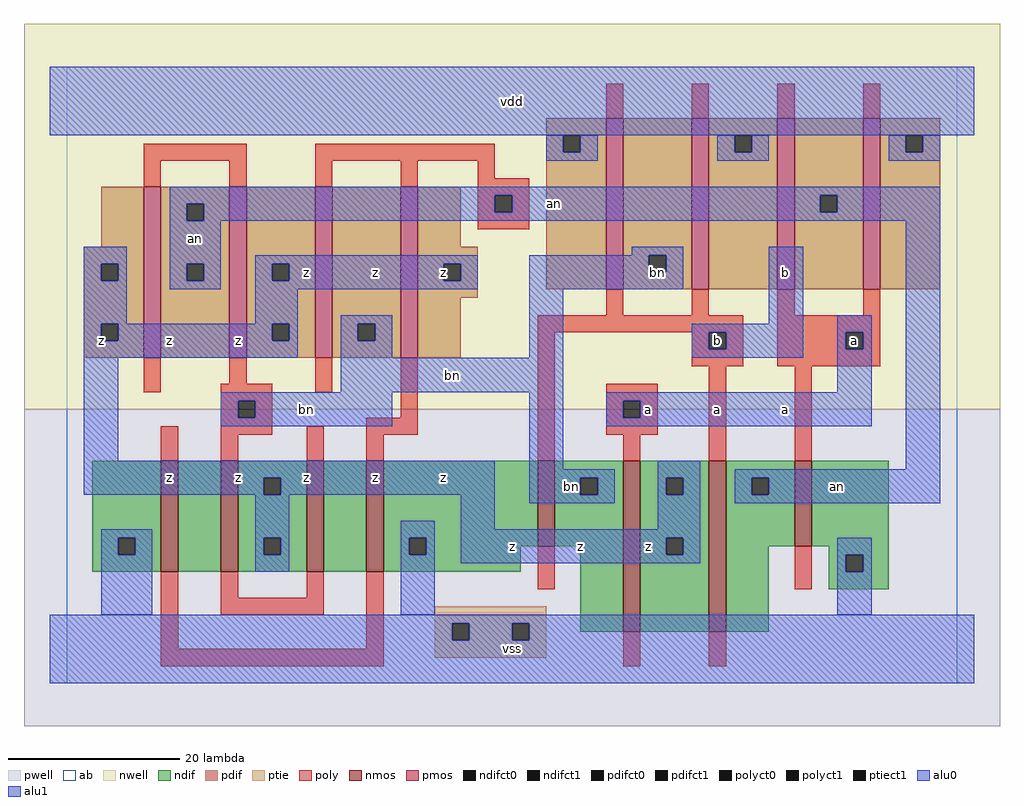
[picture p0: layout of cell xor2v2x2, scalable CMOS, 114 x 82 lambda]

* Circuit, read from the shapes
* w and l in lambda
.subckt xor2v2x2 a an b bn vdd vss z
M1 n1 an vss vss nfet w=13 l=2
M2 z bn n1 vss nfet w=13 l=2
M3 n2 bn z vss nfet w=13 l=2
M4 vss an n2 vss nfet w=13 l=2
M5 bn b vss vss nfet w=10 l=2
M6 z a bn vss nfet w=20 l=2
M7 an b z vss nfet w=20 l=2
M8 vss a an vss nfet w=10 l=2
M9 an bn z n3 pfet w=20 l=2 m=2
M10 bn an z n3 pfet w=20 l=2 m=2
M11 bn b vdd n3 pfet w=20 l=2 m=2
M12 an a vdd n3 pfet w=20 l=2 m=2
.ends

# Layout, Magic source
magic
tech scmos
<< ab >>
rect 0 0 104 72
<< nwell >>
rect -5 32 109 77
<< pwell >>
rect -5 -5 109 32
<< poly >>
rect 63 66 65 70
rect 73 66 75 70
rect 83 66 85 70
rect 93 66 95 70
rect 9 61 21 63
rect 9 58 11 61
rect 19 58 21 61
rect 29 61 50 63
rect 29 58 31 61
rect 39 58 41 61
rect 48 59 50 61
rect 48 57 54 59
rect 48 55 50 57
rect 52 55 54 57
rect 48 53 54 55
rect 63 43 65 46
rect 73 43 75 46
rect 83 43 85 46
rect 93 43 95 46
rect 55 41 79 43
rect 9 34 11 38
rect 19 35 21 38
rect 18 33 24 35
rect 29 34 31 38
rect 18 31 20 33
rect 22 31 24 33
rect 39 31 41 38
rect 11 26 13 30
rect 18 29 24 31
rect 18 26 20 29
rect 28 26 30 30
rect 35 29 41 31
rect 35 26 37 29
rect 55 26 57 41
rect 73 39 75 41
rect 77 39 79 41
rect 73 37 79 39
rect 83 41 95 43
rect 83 39 91 41
rect 93 39 95 41
rect 83 37 95 39
rect 63 33 69 35
rect 63 31 65 33
rect 67 31 69 33
rect 63 29 69 31
rect 65 26 67 29
rect 75 26 77 37
rect 85 26 87 37
rect 11 4 13 13
rect 18 10 20 13
rect 28 10 30 13
rect 18 8 30 10
rect 35 4 37 13
rect 55 11 57 16
rect 11 2 37 4
rect 85 11 87 16
rect 65 2 67 6
rect 75 2 77 6
<< ndif >>
rect 3 17 11 26
rect 3 15 6 17
rect 8 15 11 17
rect 3 13 11 15
rect 13 13 18 26
rect 20 24 28 26
rect 20 22 23 24
rect 25 22 28 24
rect 20 17 28 22
rect 20 15 23 17
rect 25 15 28 17
rect 20 13 28 15
rect 30 13 35 26
rect 37 17 55 26
rect 37 15 40 17
rect 42 16 55 17
rect 57 24 65 26
rect 57 22 60 24
rect 62 22 65 24
rect 57 16 65 22
rect 42 15 53 16
rect 37 13 53 15
rect 60 6 65 16
rect 67 24 75 26
rect 67 22 70 24
rect 72 22 75 24
rect 67 17 75 22
rect 67 15 70 17
rect 72 15 75 17
rect 67 6 75 15
rect 77 24 85 26
rect 77 22 80 24
rect 82 22 85 24
rect 77 16 85 22
rect 87 16 96 26
rect 77 6 82 16
rect 89 15 96 16
rect 89 13 91 15
rect 93 13 96 15
rect 89 11 96 13
<< pdif >>
rect 56 64 63 66
rect 56 62 58 64
rect 60 62 63 64
rect 4 51 9 58
rect 2 49 9 51
rect 2 47 4 49
rect 6 47 9 49
rect 2 42 9 47
rect 2 40 4 42
rect 6 40 9 42
rect 2 38 9 40
rect 11 56 19 58
rect 11 54 14 56
rect 16 54 19 56
rect 11 49 19 54
rect 11 47 14 49
rect 16 47 19 49
rect 11 38 19 47
rect 21 49 29 58
rect 21 47 24 49
rect 26 47 29 49
rect 21 42 29 47
rect 21 40 24 42
rect 26 40 29 42
rect 21 38 29 40
rect 31 42 39 58
rect 31 40 34 42
rect 36 40 39 42
rect 31 38 39 40
rect 41 51 46 58
rect 41 49 48 51
rect 41 47 44 49
rect 46 47 48 49
rect 41 45 48 47
rect 56 46 63 62
rect 65 50 73 66
rect 65 48 68 50
rect 70 48 73 50
rect 65 46 73 48
rect 75 64 83 66
rect 75 62 78 64
rect 80 62 83 64
rect 75 46 83 62
rect 85 57 93 66
rect 85 55 88 57
rect 90 55 93 57
rect 85 46 93 55
rect 95 64 102 66
rect 95 62 98 64
rect 100 62 102 64
rect 95 46 102 62
rect 41 38 46 45
<< alu1 >>
rect -2 64 106 72
rect 2 49 7 51
rect 2 47 4 49
rect 6 47 7 49
rect 2 42 7 47
rect 22 49 48 50
rect 22 47 24 49
rect 26 47 44 49
rect 46 47 48 49
rect 22 46 48 47
rect 22 42 27 46
rect 2 40 4 42
rect 6 40 24 42
rect 26 40 27 42
rect 2 38 27 40
rect 82 42 86 51
rect 73 41 86 42
rect 73 39 75 41
rect 77 39 86 41
rect 73 38 86 39
rect 90 41 94 43
rect 90 39 91 41
rect 93 39 94 41
rect 2 26 6 38
rect 90 34 94 39
rect 2 24 50 26
rect 2 22 23 24
rect 25 22 50 24
rect 22 17 26 22
rect 22 15 23 17
rect 25 15 26 17
rect 22 13 26 15
rect 46 18 50 22
rect 63 33 94 34
rect 63 31 65 33
rect 67 31 94 33
rect 63 30 94 31
rect 69 24 74 26
rect 69 22 70 24
rect 72 22 74 24
rect 69 18 74 22
rect 46 17 74 18
rect 46 15 70 17
rect 72 15 74 17
rect 46 14 74 15
rect -2 7 106 8
rect -2 5 45 7
rect 47 5 52 7
rect 54 5 106 7
rect -2 0 106 5
<< ptie >>
rect 43 7 56 9
rect 43 5 45 7
rect 47 5 52 7
rect 54 5 56 7
rect 43 3 56 5
<< nmos >>
rect 11 13 13 26
rect 18 13 20 26
rect 28 13 30 26
rect 35 13 37 26
rect 55 16 57 26
rect 65 6 67 26
rect 75 6 77 26
rect 85 16 87 26
<< pmos >>
rect 9 38 11 58
rect 19 38 21 58
rect 29 38 31 58
rect 39 38 41 58
rect 63 46 65 66
rect 73 46 75 66
rect 83 46 85 66
rect 93 46 95 66
<< polyct0 >>
rect 50 55 52 57
rect 20 31 22 33
<< polyct1 >>
rect 75 39 77 41
rect 91 39 93 41
rect 65 31 67 33
<< ndifct0 >>
rect 6 15 8 17
rect 40 15 42 17
rect 60 22 62 24
rect 80 22 82 24
rect 91 13 93 15
<< ndifct1 >>
rect 23 22 25 24
rect 23 15 25 17
rect 70 22 72 24
rect 70 15 72 17
<< ptiect1 >>
rect 45 5 47 7
rect 52 5 54 7
<< pdifct0 >>
rect 58 62 60 64
rect 14 54 16 56
rect 14 47 16 49
rect 34 40 36 42
rect 68 48 70 50
rect 78 62 80 64
rect 88 55 90 57
rect 98 62 100 64
<< pdifct1 >>
rect 4 47 6 49
rect 4 40 6 42
rect 24 47 26 49
rect 24 40 26 42
rect 44 47 46 49
<< alu0 >>
rect 56 62 58 64
rect 60 62 62 64
rect 56 61 62 62
rect 76 62 78 64
rect 80 62 82 64
rect 76 61 82 62
rect 96 62 98 64
rect 100 62 102 64
rect 96 61 102 62
rect 12 57 102 58
rect 12 56 50 57
rect 12 54 14 56
rect 16 55 50 56
rect 52 55 88 57
rect 90 55 102 57
rect 16 54 102 55
rect 12 49 18 54
rect 66 50 72 51
rect 12 47 14 49
rect 16 47 18 49
rect 12 46 18 47
rect 54 48 68 50
rect 70 48 72 50
rect 54 46 72 48
rect 32 42 38 43
rect 32 40 34 42
rect 36 40 38 42
rect 32 38 38 40
rect 54 38 58 46
rect 32 34 58 38
rect 18 33 38 34
rect 18 31 20 33
rect 22 31 38 33
rect 18 30 38 31
rect 4 17 10 18
rect 4 15 6 17
rect 8 15 10 17
rect 4 8 10 15
rect 39 17 43 19
rect 39 15 40 17
rect 42 15 43 17
rect 39 8 43 15
rect 54 25 58 34
rect 54 24 64 25
rect 54 22 60 24
rect 62 22 64 24
rect 54 21 64 22
rect 98 25 102 54
rect 78 24 102 25
rect 78 22 80 24
rect 82 22 102 24
rect 78 21 102 22
rect 90 15 94 17
rect 90 13 91 15
rect 93 13 94 15
rect 90 8 94 13
<< labels >>
rlabel alu0 15 52 15 52 6 an
rlabel alu0 28 32 28 32 6 bn
rlabel alu0 59 23 59 23 6 bn
rlabel alu0 45 36 45 36 6 bn
rlabel alu0 69 48 69 48 6 bn
rlabel alu0 90 23 90 23 6 an
rlabel alu0 57 56 57 56 6 an
rlabel alu1 20 24 20 24 6 z
rlabel alu1 12 24 12 24 6 z
rlabel alu1 12 40 12 40 6 z
rlabel alu1 4 40 4 40 6 z
rlabel alu1 20 40 20 40 6 z
rlabel alu1 28 24 28 24 6 z
rlabel alu1 44 24 44 24 6 z
rlabel alu1 36 24 36 24 6 z
rlabel alu1 28 48 28 48 6 z
rlabel alu1 44 48 44 48 6 z
rlabel alu1 36 48 36 48 6 z
rlabel alu1 52 4 52 4 6 vss
rlabel alu1 60 16 60 16 6 z
rlabel alu1 68 16 68 16 6 z
rlabel alu1 52 16 52 16 6 z
rlabel alu1 68 32 68 32 6 a
rlabel alu1 76 32 76 32 6 a
rlabel polyct1 76 40 76 40 6 b
rlabel alu1 52 68 52 68 6 vdd
rlabel alu1 84 32 84 32 6 a
rlabel polyct1 92 40 92 40 6 a
rlabel alu1 84 48 84 48 6 b
<< end >>
